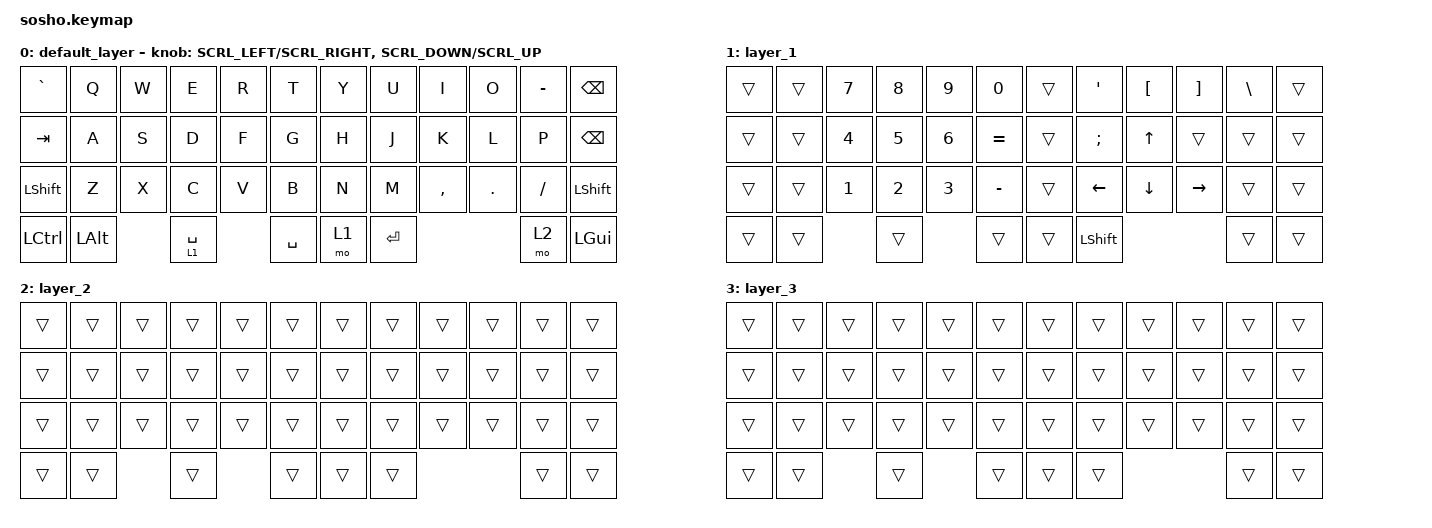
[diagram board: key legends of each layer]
//スクロール量の調整(デフォルト150)
#define ZMK_POINTING_DEFAULT_SCRL_VAL 150

#include <behaviors.dtsi>
#include <dt-bindings/zmk/bt.h>
#include <dt-bindings/zmk/keys.h>
#include <dt-bindings/zmk/pointing.h>
#include <dt-bindings/zmk/outputs.h>

/ {
	behaviors {
		//エンコーダにスクロールを割り当てるためのビヘイビア
		msc_ec_l: sensor_rotation_scroll_L {
	        compatible = "zmk,behavior-sensor-rotate-var";
            #sensor-binding-cells = <2>;
            bindings = <&msc>, <&msc>;
			tap-ms = <20>;
        };
		msc_ec_r: sensor_rotation_scroll_R {
	        compatible = "zmk,behavior-sensor-rotate-var";
            #sensor-binding-cells = <2>;
            bindings = <&msc>, <&msc>;
			tap-ms = <20>;
        };
	};
};

//スクロールの調整
&msc {
    time-to-max-speed-ms = <0>;   // 即座に最大速度（加速なし）
    acceleration-exponent = <0>;   // 加速なし
};
/{
    combos {
        compatible = "zmk,combos";
        prioritize-longer-keys;
		//左クリックのコンボ 19 J 20 K
	    combo_LCLK {
            timeout-ms = <50>;
            key-positions = <19 20>;
            bindings = <&mkp LCLK>;
        };

		//右クリックのコンボ 20 K 21 L
        combo_RCLK {
            timeout-ms = <50>;
            key-positions = <20 21>;
            bindings = <&mkp RCLK>;
        };

		//ホイールクリックのコンボ 19 J 21 L
	    combo_MCLK {
            timeout-ms = <90>;
            key-positions = <19 21>;
            bindings = <&mkp MCLK>;
        };

        //戻るクリックのコンボ 8 I 19 J
	    combo_MB4 {
            timeout-ms = <60>;
            key-positions = <8 19>;
            bindings = <&mkp MB4>;
        };

		//スクロールレイヤー 19 J 20 K 21 L
		combo_SCROLL {
            timeout-ms = <90>;
            key-positions = <19 20 21>;
            bindings = <&mo 3>;
        };
    };
};

/{
keymap {
    compatible = "zmk,keymap";

    default_layer {
        bindings = <
            &kp GRAVE   &kp Q   &kp W   &kp E   &kp R   &kp T           &kp Y   &kp U   &kp I       &kp O       &kp MINUS   &kp BSPC
            &kp TAB     &kp A   &kp S   &kp D   &kp F   &kp G           &kp H   &kp J   &kp K       &kp L       &kp P       &kp BSPC
            &kp LSHFT   &kp Z   &kp X   &kp C   &kp V   &kp B           &kp N   &kp M   &kp COMMA   &kp DOT     &kp SLASH   &kp LSHFT
            &kp LCTRL   &kp LALT        &lt 1 SPACE     &kp SPACE       &mo 1   &kp ENTER                       &mo 2       &kp LGUI
        >;
		//&msc_ec_lとrは、上のビヘイビアで作ったもの。
        sensor-bindings = <&msc_ec_l SCRL_LEFT SCRL_RIGHT &msc_ec_r SCRL_DOWN SCRL_UP>;
    };
	
    layer_1 {
        bindings = <
            &trans  &trans  &kp N7  &kp N8  &kp N9  &kp N0          &trans  &kp APOS    &kp LBKT    &kp RBKT    &kp BSLH    &trans
            &trans  &trans  &kp N4  &kp N5  &kp N6  &kp EQUAL       &trans  &kp SEMI    &kp UP      &trans      &trans      &trans
            &trans  &trans  &kp N1  &kp N2  &kp N3  &kp MINUS       &trans  &kp LEFT    &kp DOWN    &kp RIGHT   &trans      &trans
            &trans  &trans                  &trans  &trans          &trans  &kp LSHFT                           &trans      &trans
        >;
    };

    layer_2 {
        bindings = <
            &trans &trans &trans &trans &trans &trans      &trans &trans &trans &trans &trans &trans
            &trans &trans &trans &trans &trans &trans      &trans &trans &trans &trans &trans &trans
            &trans &trans &trans &trans &trans &trans      &trans &trans &trans &trans &trans &trans
            &trans &trans               &trans &trans      &trans &trans               &trans &trans
        >;
    };

    layer_3 {
        bindings = <
            &trans &trans &trans &trans &trans &trans      &trans &trans &trans &trans &trans &trans
            &trans &trans &trans &trans &trans &trans      &trans &trans &trans &trans &trans &trans
            &trans &trans &trans &trans &trans &trans      &trans &trans &trans &trans &trans &trans
            &trans &trans               &trans &trans      &trans &trans               &trans &trans
        >;
    };
    scroll {
        status = "reserved";
    };

    extra2 {
        status = "reserved";
    };
};
};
